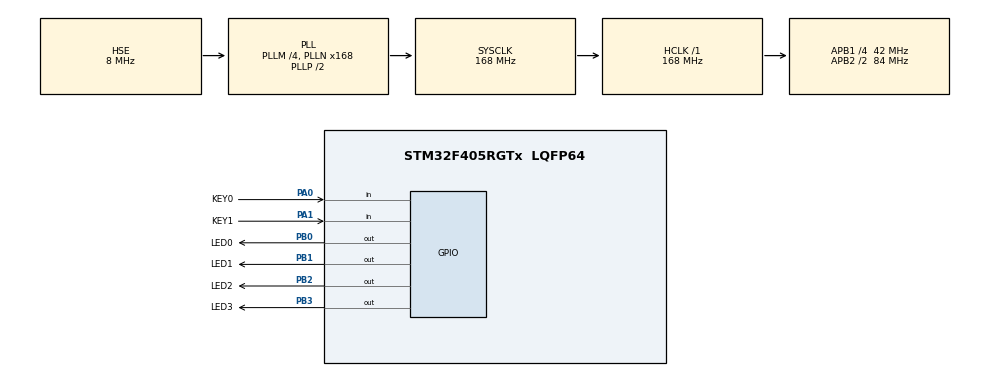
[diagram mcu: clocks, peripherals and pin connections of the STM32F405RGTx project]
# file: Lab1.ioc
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Mcu.Family=STM32F4
Mcu.Name=STM32F405RGTx
Mcu.Package=LQFP64
NVIC.PriorityGroup=NVIC_PRIORITYGROUP_4
PA0-WKUP.GPIO_Label=KEY0
PA0-WKUP.GPIO_PuPd=GPIO_PULLUP
PA0-WKUP.Signal=GPIO_Input
PA1.GPIO_Label=KEY1
PA1.GPIO_PuPd=GPIO_PULLUP
PA1.Signal=GPIO_Input
PB0.GPIO_Label=LED0
PB0.Signal=GPIO_Output
PB1.GPIO_Label=LED1
PB1.Signal=GPIO_Output
PB2.GPIO_Label=LED2
PB2.Signal=GPIO_Output
PB3.GPIO_Label=LED3
PB3.Signal=GPIO_Output
PH0-OSC_IN.Mode=HSE-External-Oscillator
PH0-OSC_IN.Signal=RCC_OSC_IN
PH1-OSC_OUT.Mode=HSE-External-Oscillator
PH1-OSC_OUT.Signal=RCC_OSC_OUT
ProjectManager.HeapSize=0x200
ProjectManager.StackSize=0x400
ProjectManager.TargetToolchain=STM32CubeIDE
RCC.48MHZClocksFreq_Value=84000000
RCC.AHBFreq_Value=168000000
RCC.APB1CLKDivider=RCC_HCLK_DIV4
RCC.APB1Freq_Value=42000000
RCC.APB1TimFreq_Value=84000000
RCC.APB2CLKDivider=RCC_HCLK_DIV2
RCC.APB2Freq_Value=84000000
RCC.APB2TimFreq_Value=168000000
RCC.CortexFreq_Value=168000000
RCC.HCLKFreq_Value=168000000
RCC.HSE_VALUE=8000000
RCC.HSI_VALUE=16000000
RCC.LSE_VALUE=32768
RCC.PLLM=4
RCC.PLLN=168
RCC.PLLSourceVirtual=RCC_PLLSOURCE_HSE
RCC.SYSCLKFreq_VALUE=168000000
RCC.SYSCLKSource=RCC_SYSCLKSOURCE_PLLCLK
RCC.VCOOutputFreq_Value=336000000
TIM3.Prescaler=8399
VP_TIM3_VS_ClockSourceINT.Mode=Internal
board=custom

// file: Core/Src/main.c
/* USER CODE BEGIN Header */
/**
  ******************************************************************************
  * @file           : main.c
  * @brief          : Main program body
  ******************************************************************************
  * @attention
  *
  * Copyright (c) 2022 STMicroelectronics.
  * All rights reserved.
  *
  * This software is licensed under terms that can be found in the LICENSE file
  * in the root directory of this software component.
  * If no LICENSE file comes with this software, it is provided AS-IS.
  *
  ******************************************************************************
  */
/* USER CODE END Header */
#include "main.h"

TIM_HandleTypeDef htim3;

void SystemClock_Config(void);
static void MX_GPIO_Init(void);
static void MX_TIM3_Init(void);

/* USER CODE BEGIN 0 */

void Delay_100ms(void)
{
	__HAL_TIM_SetCounter(&htim3, 0);
	while (__HAL_TIM_GetCounter(&htim3) < 1000); //clock timer 10Khz
}

void Delay_X00ms(int times)
{
	int i = 0;
	for(i = 0; i < times; i++)
	{
		Delay_100ms();
	}
}

void Reset_LEDs()
{
	HAL_GPIO_WritePin(GPIOB, LED0_Pin | LED1_Pin | LED2_Pin | LED3_Pin, GPIO_PIN_RESET);
}

void Effect1(int period)
{
	Reset_LEDs();
	for (uint8_t i = 0; i < 6; i++)
	{
		HAL_GPIO_TogglePin(GPIOB, LED0_Pin | LED1_Pin | LED2_Pin | LED3_Pin);
		Delay_X00ms(period);
	}
	Reset_LEDs();
}

void Effect2(int period)
{
	HAL_GPIO_WritePin(GPIOB, LED0_Pin, GPIO_PIN_SET);
	Delay_X00ms(period);
	HAL_GPIO_WritePin(GPIOB, LED0_Pin, GPIO_PIN_RESET);
	HAL_GPIO_WritePin(GPIOB, LED1_Pin, GPIO_PIN_SET);
	Delay_X00ms(period);
	HAL_GPIO_WritePin(GPIOB, LED1_Pin, GPIO_PIN_RESET);
	HAL_GPIO_WritePin(GPIOB, LED2_Pin, GPIO_PIN_SET);
	Delay_X00ms(period);
	HAL_GPIO_WritePin(GPIOB, LED2_Pin, GPIO_PIN_RESET);
	HAL_GPIO_WritePin(GPIOB, LED3_Pin, GPIO_PIN_SET);
	Delay_X00ms(period);
	Reset_LEDs();
}

void Effect(int state, int period)
{
	(state == 1) ? Effect1(period) : Effect2(period);
}

/* USER CODE END 0 */

int main(void)
{
  /* USER CODE BEGIN 1 */
	uint8_t state = 1; 	// trang thai cua hieu ung
	uint8_t flag = 0; 	// co kiem tra truong hop 2 key duoc nhan
	uint8_t count = 5;	// period level
  /* USER CODE END 1 */

  /* MCU Configuration--------------------------------------------------------*/

  /* Reset of all peripherals, Initializes the Flash interface and the Systick. */
  HAL_Init();

  /* Configure the system clock */
  SystemClock_Config();

  /* Initialize all configured peripherals */
  MX_GPIO_Init();
  MX_TIM3_Init();
  /* USER CODE BEGIN 2 */
  HAL_TIM_Base_Start_IT(&htim3);
  /* USER CODE END 2 */

  /* Infinite loop */
  /* USER CODE BEGIN WHILE */
  while (1)
  {
	  if (HAL_GPIO_ReadPin(KEY0_GPIO_Port, KEY0_Pin) == 0)
	  {
		  while (HAL_GPIO_ReadPin(KEY0_GPIO_Port, KEY0_Pin) == 0) // doi key0 duoc tha ra
		  {
			  if (HAL_GPIO_ReadPin(KEY1_GPIO_Port, KEY1_Pin) == 0)
			  {
				  state = (state == 0) ? 1 : 0;
				  flag = 1;
				  while (HAL_GPIO_ReadPin(KEY1_GPIO_Port, KEY1_Pin) == 0); // doi key1 duoc tha ra
			  }
		  }

		  if (flag == 1)
		  {
			  Effect(state, count);
			  flag = 0;
			  continue;
		  }

		  count = (count == 1) ? 10 : count - 1;
		  Effect(state, count);
	  }
	  else if (HAL_GPIO_ReadPin(KEY1_GPIO_Port, KEY1_Pin) == 0)
	  {
		  while (HAL_GPIO_ReadPin(KEY1_GPIO_Port, KEY1_Pin) == 0) // doi key1 duoc tha ra
		  {
			  if (HAL_GPIO_ReadPin(KEY0_GPIO_Port, KEY0_Pin) == 0)
			  {
				  state = (state == 0) ? 1 : 0;
				  flag = 1;
				  while (HAL_GPIO_ReadPin(KEY0_GPIO_Port, KEY0_Pin) == 0); // doi key0 duoc tha ra
			  }
		  }

		  if (flag == 1)
		  {
			  Effect(state, count);
			  flag = 0;
			  continue;
		  }

		  count = (count == 10) ? 1 : count + 1;
		  Effect(state, count);
	  }

    /* USER CODE END WHILE */

  }
}

void SystemClock_Config(void)
{
  RCC_OscInitTypeDef RCC_OscInitStruct = {0};
  RCC_ClkInitTypeDef RCC_ClkInitStruct = {0};

  /** Configure the main internal regulator output voltage
  */
  __HAL_RCC_PWR_CLK_ENABLE();
  __HAL_PWR_VOLTAGESCALING_CONFIG(PWR_REGULATOR_VOLTAGE_SCALE1);

  /** Initializes the RCC Oscillators according to the specified parameters
  * in the RCC_OscInitTypeDef structure.
  */
  RCC_OscInitStruct.OscillatorType = RCC_OSCILLATORTYPE_HSE;
  RCC_OscInitStruct.HSEState = RCC_HSE_ON;
  RCC_OscInitStruct.PLL.PLLState = RCC_PLL_ON;
  RCC_OscInitStruct.PLL.PLLSource = RCC_PLLSOURCE_HSE;
  RCC_OscInitStruct.PLL.PLLM = 4;
  RCC_OscInitStruct.PLL.PLLN = 168;
  RCC_OscInitStruct.PLL.PLLP = RCC_PLLP_DIV2;
  RCC_OscInitStruct.PLL.PLLQ = 4;
  if (HAL_RCC_OscConfig(&RCC_OscInitStruct) != HAL_OK)
  {
    Error_Handler();
  }

  /** Initializes the CPU, AHB and APB buses clocks
  */
  RCC_ClkInitStruct.ClockType = RCC_CLOCKTYPE_HCLK|RCC_CLOCKTYPE_SYSCLK
                              |RCC_CLOCKTYPE_PCLK1|RCC_CLOCKTYPE_PCLK2;
  RCC_ClkInitStruct.SYSCLKSource = RCC_SYSCLKSOURCE_PLLCLK;
  RCC_ClkInitStruct.AHBCLKDivider = RCC_SYSCLK_DIV1;
  RCC_ClkInitStruct.APB1CLKDivider = RCC_HCLK_DIV4;
  RCC_ClkInitStruct.APB2CLKDivider = RCC_HCLK_DIV2;

  if (HAL_RCC_ClockConfig(&RCC_ClkInitStruct, FLASH_LATENCY_5) != HAL_OK)
  {
    Error_Handler();
  }
}

static void MX_TIM3_Init(void)
{

  TIM_ClockConfigTypeDef sClockSourceConfig = {0};
  TIM_MasterConfigTypeDef sMasterConfig = {0};

  htim3.Instance = TIM3;
  htim3.Init.Prescaler = 8399;
  htim3.Init.CounterMode = TIM_COUNTERMODE_UP;
  htim3.Init.Period = 65535;
  htim3.Init.ClockDivision = TIM_CLOCKDIVISION_DIV1;
  htim3.Init.AutoReloadPreload = TIM_AUTORELOAD_PRELOAD_DISABLE;
  if (HAL_TIM_Base_Init(&htim3) != HAL_OK)
  {
    Error_Handler();
  }
  sClockSourceConfig.ClockSource = TIM_CLOCKSOURCE_INTERNAL;
  if (HAL_TIM_ConfigClockSource(&htim3, &sClockSourceConfig) != HAL_OK)
  {
    Error_Handler();
  }
  sMasterConfig.MasterOutputTrigger = TIM_TRGO_RESET;
  sMasterConfig.MasterSlaveMode = TIM_MASTERSLAVEMODE_DISABLE;
  if (HAL_TIMEx_MasterConfigSynchronization(&htim3, &sMasterConfig) != HAL_OK)
  {
    Error_Handler();
  }

}

static void MX_GPIO_Init(void)
{
  GPIO_InitTypeDef GPIO_InitStruct = {0};

  /* GPIO Ports Clock Enable */
  __HAL_RCC_GPIOH_CLK_ENABLE();
  __HAL_RCC_GPIOA_CLK_ENABLE();
  __HAL_RCC_GPIOB_CLK_ENABLE();

  /*Configure GPIO pin Output Level */
  HAL_GPIO_WritePin(GPIOB, LED0_Pin|LED1_Pin|LED2_Pin|LED3_Pin, GPIO_PIN_RESET);

  /*Configure GPIO pins : KEY0_Pin KEY1_Pin */
  GPIO_InitStruct.Pin = KEY0_Pin|KEY1_Pin;
  GPIO_InitStruct.Mode = GPIO_MODE_INPUT;
  GPIO_InitStruct.Pull = GPIO_PULLUP;
  HAL_GPIO_Init(GPIOA, &GPIO_InitStruct);

  /*Configure GPIO pins : LED0_Pin LED1_Pin LED2_Pin LED3_Pin */
  GPIO_InitStruct.Pin = LED0_Pin|LED1_Pin|LED2_Pin|LED3_Pin;
  GPIO_InitStruct.Mode = GPIO_MODE_OUTPUT_PP;
  GPIO_InitStruct.Pull = GPIO_NOPULL;
  GPIO_InitStruct.Speed = GPIO_SPEED_FREQ_LOW;
  HAL_GPIO_Init(GPIOB, &GPIO_InitStruct);

}

void Error_Handler(void)
{
  __disable_irq();
  while (1)
  {
  }
}
